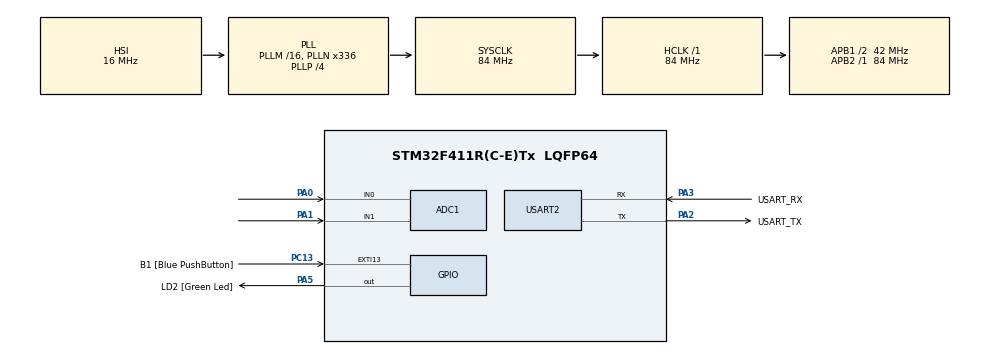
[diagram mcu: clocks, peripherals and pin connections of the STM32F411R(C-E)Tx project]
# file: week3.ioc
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ADC1.Channel-0\#ChannelRegularConversion=ADC_CHANNEL_0
ADC1.NbrOfConversionFlag=1
ADC1.Rank-0\#ChannelRegularConversion=1
ADC1.SamplingTime-0\#ChannelRegularConversion=ADC_SAMPLETIME_3CYCLES
ADC1.master=1
Mcu.Family=STM32F4
Mcu.Name=STM32F411R(C-E)Tx
Mcu.Package=LQFP64
NVIC.PriorityGroup=NVIC_PRIORITYGROUP_0
PA0-WKUP.Signal=ADCx_IN0
PA1.Signal=ADCx_IN1
PA13.GPIO_Label=TMS
PA13.Mode=Serial_Wire
PA13.Signal=SYS_JTMS-SWDIO
PA14.GPIO_Label=TCK
PA14.Mode=Serial_Wire
PA14.Signal=SYS_JTCK-SWCLK
PA2.GPIO_Label=USART_TX
PA2.Mode=Asynchronous
PA2.Signal=USART2_TX
PA3.GPIO_Label=USART_RX
PA3.Mode=Asynchronous
PA3.Signal=USART2_RX
PA5.GPIO_Label=LD2 [Green Led]
PA5.Signal=GPIO_Output
PB3.GPIO_Label=SWO
PB3.Signal=SYS_JTDO-SWO
PC13-ANTI_TAMP.GPIO_Label=B1 [Blue PushButton]
PC13-ANTI_TAMP.GPIO_ModeDefaultEXTI=GPIO_MODE_IT_FALLING
PC13-ANTI_TAMP.Signal=GPXTI13
PC14-OSC32_IN.Mode=LSE-External-Oscillator
PC14-OSC32_IN.Signal=RCC_OSC32_IN
PC15-OSC32_OUT.Mode=LSE-External-Oscillator
PC15-OSC32_OUT.Signal=RCC_OSC32_OUT
PH0\ -\ OSC_IN.Mode=HSE-External-Clock-Source
PH0\ -\ OSC_IN.Signal=RCC_OSC_IN
PH1\ -\ OSC_OUT.Mode=HSE-External-Clock-Source
PH1\ -\ OSC_OUT.Signal=RCC_OSC_OUT
ProjectManager.HeapSize=0x200
ProjectManager.StackSize=0x400
ProjectManager.TargetToolchain=STM32CubeIDE
RCC.48MHZClocksFreq_Value=84000000
RCC.AHBFreq_Value=84000000
RCC.APB1CLKDivider=RCC_HCLK_DIV2
RCC.APB1Freq_Value=42000000
RCC.APB1TimFreq_Value=84000000
RCC.APB2Freq_Value=84000000
RCC.APB2TimFreq_Value=84000000
RCC.CortexFreq_Value=84000000
RCC.FLatency-AdvancedSettings=FLASH_LATENCY_2
RCC.HCLKFreq_Value=84000000
RCC.HSE_VALUE=8000000
RCC.HSI_VALUE=16000000
RCC.PLLN=336
RCC.PLLP=RCC_PLLP_DIV4
RCC.SYSCLKFreq_VALUE=84000000
RCC.SYSCLKSource=RCC_SYSCLKSOURCE_PLLCLK
RCC.VCOOutputFreq_Value=336000000
SH.ADCx_IN0.0=ADC1_IN0,IN0
SH.ADCx_IN1.0=ADC1_IN1,IN1
USART2.VirtualMode=VM_ASYNC
VP_ADC1_TempSens_Input.Mode=IN-TempSens
board=NUCLEO-F411RE

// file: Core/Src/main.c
/* USER CODE BEGIN Header */
/**
  ******************************************************************************
  * @file           : main.c
  * @brief          : Main program body
  ******************************************************************************
  * @attention
  *
  * Copyright (c) 2023 STMicroelectronics.
  * All rights reserved.
  *
  * This software is licensed under terms that can be found in the LICENSE file
  * in the root directory of this software component.
  * If no LICENSE file comes with this software, it is provided AS-IS.
  *
  ******************************************************************************
  */
/* USER CODE END Header */
#include "main.h"

ADC_HandleTypeDef hadc1;

UART_HandleTypeDef huart2;

/* USER CODE BEGIN PV */
typedef struct _ADC_Config
{
	ADC_ChannelConfTypeDef Config;
	uint16_t data;

}ADCStructure;
ADCStructure ADCChannel[3];

/* USER CODE END PV */

void SystemClock_Config(void);
static void MX_GPIO_Init(void);
static void MX_USART2_UART_Init(void);
static void MX_ADC1_Init(void);
/* USER CODE BEGIN PFP */
void ADCRead();
/* USER CODE END PFP */

int main(void)
{

  /* MCU Configuration--------------------------------------------------------*/

  /* Reset of all peripherals, Initializes the Flash interface and the Systick. */
  HAL_Init();

  /* Configure the system clock */
  SystemClock_Config();

  /* Initialize all configured peripherals */
  MX_GPIO_Init();
  MX_USART2_UART_Init();
  MX_ADC1_Init();

  /* Infinite loop */
  while (1)
  {

    /* USER CODE BEGIN 3 */
	  ADCRead();
  }
  /* USER CODE END 3 */
}

void SystemClock_Config(void)
{
  RCC_OscInitTypeDef RCC_OscInitStruct = {0};
  RCC_ClkInitTypeDef RCC_ClkInitStruct = {0};

  /** Configure the main internal regulator output voltage
  */
  __HAL_RCC_PWR_CLK_ENABLE();
  __HAL_PWR_VOLTAGESCALING_CONFIG(PWR_REGULATOR_VOLTAGE_SCALE1);

  /** Initializes the RCC Oscillators according to the specified parameters
  * in the RCC_OscInitTypeDef structure.
  */
  RCC_OscInitStruct.OscillatorType = RCC_OSCILLATORTYPE_HSI;
  RCC_OscInitStruct.HSIState = RCC_HSI_ON;
  RCC_OscInitStruct.HSICalibrationValue = RCC_HSICALIBRATION_DEFAULT;
  RCC_OscInitStruct.PLL.PLLState = RCC_PLL_ON;
  RCC_OscInitStruct.PLL.PLLSource = RCC_PLLSOURCE_HSI;
  RCC_OscInitStruct.PLL.PLLM = 16;
  RCC_OscInitStruct.PLL.PLLN = 336;
  RCC_OscInitStruct.PLL.PLLP = RCC_PLLP_DIV4;
  RCC_OscInitStruct.PLL.PLLQ = 4;
  if (HAL_RCC_OscConfig(&RCC_OscInitStruct) != HAL_OK)
  {
    Error_Handler();
  }

  /** Initializes the CPU, AHB and APB buses clocks
  */
  RCC_ClkInitStruct.ClockType = RCC_CLOCKTYPE_HCLK|RCC_CLOCKTYPE_SYSCLK
                              |RCC_CLOCKTYPE_PCLK1|RCC_CLOCKTYPE_PCLK2;
  RCC_ClkInitStruct.SYSCLKSource = RCC_SYSCLKSOURCE_PLLCLK;
  RCC_ClkInitStruct.AHBCLKDivider = RCC_SYSCLK_DIV1;
  RCC_ClkInitStruct.APB1CLKDivider = RCC_HCLK_DIV2;
  RCC_ClkInitStruct.APB2CLKDivider = RCC_HCLK_DIV1;

  if (HAL_RCC_ClockConfig(&RCC_ClkInitStruct, FLASH_LATENCY_2) != HAL_OK)
  {
    Error_Handler();
  }
}

static void MX_ADC1_Init(void)
{

  ADC_ChannelConfTypeDef sConfig = {0};

  /** Configure the global features of the ADC (Clock, Resolution, Data Alignment and number of conversion)
  */
  hadc1.Instance = ADC1;
  hadc1.Init.ClockPrescaler = ADC_CLOCK_SYNC_PCLK_DIV4;
  hadc1.Init.Resolution = ADC_RESOLUTION_12B;
  hadc1.Init.ScanConvMode = DISABLE;
  hadc1.Init.ContinuousConvMode = DISABLE;
  hadc1.Init.DiscontinuousConvMode = DISABLE;
  hadc1.Init.ExternalTrigConvEdge = ADC_EXTERNALTRIGCONVEDGE_NONE;
  hadc1.Init.ExternalTrigConv = ADC_SOFTWARE_START;
  hadc1.Init.DataAlign = ADC_DATAALIGN_RIGHT;
  hadc1.Init.NbrOfConversion = 1;
  hadc1.Init.DMAContinuousRequests = DISABLE;
  hadc1.Init.EOCSelection = ADC_EOC_SINGLE_CONV;
  if (HAL_ADC_Init(&hadc1) != HAL_OK)
  {
    Error_Handler();
  }

  /** Configure for the selected ADC regular channel its corresponding rank in the sequencer and its sample time.
  */
  sConfig.Channel = ADC_CHANNEL_0;
  sConfig.Rank = 1;
  sConfig.SamplingTime = ADC_SAMPLETIME_3CYCLES;
  if (HAL_ADC_ConfigChannel(&hadc1, &sConfig) != HAL_OK)
  {
    Error_Handler();
  }

}

static void MX_USART2_UART_Init(void)
{

  huart2.Instance = USART2;
  huart2.Init.BaudRate = 115200;
  huart2.Init.WordLength = UART_WORDLENGTH_8B;
  huart2.Init.StopBits = UART_STOPBITS_1;
  huart2.Init.Parity = UART_PARITY_NONE;
  huart2.Init.Mode = UART_MODE_TX_RX;
  huart2.Init.HwFlowCtl = UART_HWCONTROL_NONE;
  huart2.Init.OverSampling = UART_OVERSAMPLING_16;
  if (HAL_UART_Init(&huart2) != HAL_OK)
  {
    Error_Handler();
  }

}

static void MX_GPIO_Init(void)
{
  GPIO_InitTypeDef GPIO_InitStruct = {0};

  /* GPIO Ports Clock Enable */
  __HAL_RCC_GPIOC_CLK_ENABLE();
  __HAL_RCC_GPIOH_CLK_ENABLE();
  __HAL_RCC_GPIOA_CLK_ENABLE();
  __HAL_RCC_GPIOB_CLK_ENABLE();

  /*Configure GPIO pin Output Level */
  HAL_GPIO_WritePin(LD2_GPIO_Port, LD2_Pin, GPIO_PIN_RESET);

  /*Configure GPIO pin : B1_Pin */
  GPIO_InitStruct.Pin = B1_Pin;
  GPIO_InitStruct.Mode = GPIO_MODE_IT_FALLING;
  GPIO_InitStruct.Pull = GPIO_NOPULL;
  HAL_GPIO_Init(B1_GPIO_Port, &GPIO_InitStruct);

  /*Configure GPIO pin : LD2_Pin */
  GPIO_InitStruct.Pin = LD2_Pin;
  GPIO_InitStruct.Mode = GPIO_MODE_OUTPUT_PP;
  GPIO_InitStruct.Pull = GPIO_NOPULL;
  GPIO_InitStruct.Speed = GPIO_SPEED_FREQ_LOW;
  HAL_GPIO_Init(LD2_GPIO_Port, &GPIO_InitStruct);

}

/* USER CODE BEGIN 4 */
void ADCConfigInit()
{
	ADCChannel[0].Config.Channel = ADC_CHANNEL_0;
	ADCChannel[0].Config.SamplingTime = ADC_SAMPLETIME_3CYCLES;
	ADCChannel[0].Config.Rank = 1;

	ADCChannel[1].Config.Channel = ADC_CHANNEL_1;
	ADCChannel[1].Config.SamplingTime = ADC_SAMPLETIME_3CYCLES;
	ADCChannel[1].Config.Rank = 1;

	ADCChannel[2].Config.Channel = ADC_CHANNEL_TEMPSENSOR;
	ADCChannel[2].Config.SamplingTime = ADC_SAMPLETIME_3CYCLES;
	ADCChannel[2].Config.Rank = 1;

}
void ADCRead()
{
	ADC_ChannelConfTypeDef ADCConfig;
	ADCConfig.Channel = ADC_CHANNEL_0;
	ADCConfig.Rank = 1;
	ADCConfig.SamplingTime = ADC_SAMPLETIME_3CYCLES;

	HAL_ADC_ConfigChannel(&hadc1, &ADCConfig);
	HAL_ADC_Start(&hadc1);
	HAL_ADC_PollForConversion(&hadc1, 1);
	ADC_Rawdata = HAL_ADC_GetValue(&hadc1);
	HAL_ADC_Stop(&hadc1);
}
/* USER CODE END 4 */

void Error_Handler(void)
{
  __disable_irq();
  while (1)
  {
  }
}
